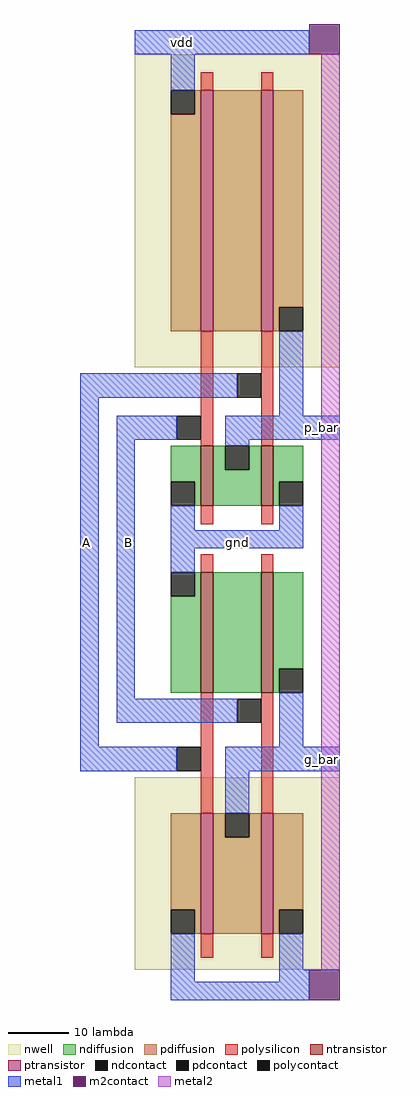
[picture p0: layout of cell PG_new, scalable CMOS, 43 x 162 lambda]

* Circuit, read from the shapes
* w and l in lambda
.subckt PG_new A B g_bar gnd p_bar vdd
M1 n1 A gnd VSUBS nfet w=20 l=2
M2 p_bar B gnd VSUBS nfet w=10 l=2
M3 g_bar B n1 VSUBS nfet w=20 l=2
M4 gnd A p_bar VSUBS nfet w=10 l=2
M5 g_bar A vdd n2 pfet w=20 l=2
M6 n3 B vdd n4 pfet w=40 l=2
M7 vdd B g_bar n2 pfet w=20 l=2
M8 p_bar A n3 n4 pfet w=40 l=2
.ends

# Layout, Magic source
magic
tech scmos
<< nwell >>
rect -69 34 -35 86
rect -69 -66 -35 -34
<< ntransistor >>
rect -58 11 -56 21
rect -48 11 -46 21
rect -58 -20 -56 0
rect -48 -20 -46 0
<< ptransistor >>
rect -58 40 -56 80
rect -48 40 -46 80
rect -58 -60 -56 -40
rect -48 -60 -46 -40
<< ndiffusion >>
rect -63 15 -58 21
rect -59 11 -58 15
rect -56 17 -54 21
rect -50 17 -48 21
rect -56 11 -48 17
rect -46 15 -41 21
rect -46 11 -45 15
rect -59 -4 -58 0
rect -63 -20 -58 -4
rect -56 -20 -48 0
rect -46 -16 -41 0
rect -46 -20 -45 -16
<< pdiffusion >>
rect -59 76 -58 80
rect -63 40 -58 76
rect -56 40 -48 80
rect -46 44 -41 80
rect -46 40 -45 44
rect -63 -56 -58 -40
rect -59 -60 -58 -56
rect -56 -44 -54 -40
rect -50 -44 -48 -40
rect -56 -60 -48 -44
rect -46 -56 -41 -40
rect -46 -60 -45 -56
<< ndcontact >>
rect -63 11 -59 15
rect -54 17 -50 21
rect -45 11 -41 15
rect -63 -4 -59 0
rect -45 -20 -41 -16
<< pdcontact >>
rect -63 76 -59 80
rect -45 40 -41 44
rect -63 -60 -59 -56
rect -54 -44 -50 -40
rect -45 -60 -41 -56
<< polysilicon >>
rect -58 80 -56 83
rect -48 80 -46 83
rect -58 21 -56 40
rect -48 21 -46 40
rect -58 8 -56 11
rect -48 8 -46 11
rect -58 0 -56 3
rect -48 0 -46 3
rect -58 -40 -56 -20
rect -48 -40 -46 -20
rect -58 -64 -56 -60
rect -48 -64 -46 -60
<< polycontact >>
rect -62 22 -58 26
rect -52 29 -48 33
rect -62 -33 -58 -29
rect -52 -25 -48 -21
<< metal1 >>
rect -69 86 -40 90
rect -63 80 -59 86
rect -78 29 -52 33
rect -78 -29 -75 29
rect -45 26 -41 40
rect -72 22 -62 26
rect -54 22 -35 26
rect -72 -21 -69 22
rect -54 21 -50 22
rect -63 7 -59 11
rect -45 7 -41 11
rect -63 4 -41 7
rect -63 0 -59 4
rect -72 -25 -52 -21
rect -45 -29 -41 -20
rect -78 -33 -62 -29
rect -54 -33 -35 -29
rect -54 -40 -50 -33
rect -63 -68 -59 -60
rect -45 -66 -41 -60
rect -45 -68 -40 -66
rect -63 -71 -40 -68
<< m2contact >>
rect -40 86 -35 91
rect -40 -71 -35 -66
<< metal2 >>
rect -38 -66 -35 86
<< labels >>
rlabel metal1 -61 88 -61 88 5 vdd
rlabel metal1 -38 24 -38 24 7 p_bar
rlabel metal1 -52 5 -52 5 1 gnd
rlabel metal1 -70 5 -70 5 1 B
rlabel metal1 -77 5 -77 5 3 A
rlabel metal1 -38 -31 -38 -31 7 g_bar
<< end >>
